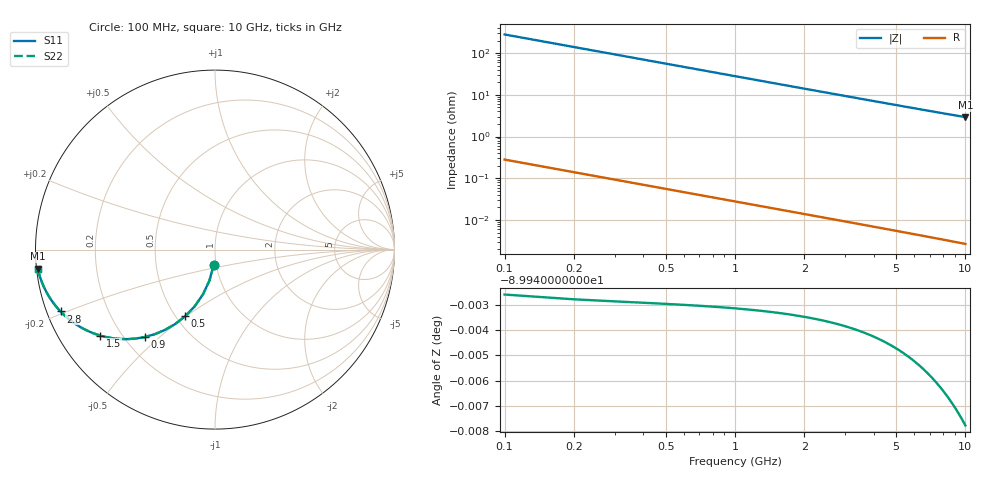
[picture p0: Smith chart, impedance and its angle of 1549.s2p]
# Hz S RI R 50.00
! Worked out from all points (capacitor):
!   100 points, 100 MHz to 10 GHz, reference 50 ohm
!   read as one part in shunt: C = 5.68 pF near 100 MHz
!   lowest |Z| = 2.93 ohm at 10 GHz (marker M1)
!   S11 on the Smith chart (normalised r, x): 100 MHz: 0.97, -0.17; 500 MHz: 0.56, -0.50; 900 MHz: 0.28, -0.45; 1.5 GHz: 0.12, -0.33; 2.8 GHz: 0.04, -0.19; 10 GHz: 0.00, -0.05
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1e8  -0.00797 -0.0884  0.992 -0.0885  0.992 -0.0885  -0.00797 -0.0884
2e8  -0.031 -0.1726  0.969 -0.1728  0.969 -0.1728  -0.031 -0.1726
3e8  -0.0669 -0.2493  0.933 -0.2496  0.933 -0.2496  -0.0669 -0.2493
4e8  -0.113 -0.3159  0.887 -0.3163  0.887 -0.3163  -0.113 -0.3159
5e8  -0.1659 -0.3712  0.8341 -0.3717  0.8341 -0.3717  -0.1659 -0.3712
6e8  -0.2225 -0.4151  0.7775 -0.4157  0.7775 -0.4157  -0.2225 -0.4151
7e8  -0.2801 -0.4482  0.7199 -0.4489  0.7199 -0.4489  -0.2801 -0.4482
8e8  -0.3368 -0.4717  0.6632 -0.4725  0.6632 -0.4725  -0.3368 -0.4717
9e8  -0.3911 -0.4871  0.6089 -0.4879  0.6089 -0.4879  -0.3911 -0.4871
1e9  -0.4421 -0.4957  0.5578 -0.4966  0.5578 -0.4966  -0.4421 -0.4957
1.2e9  -0.5327 -0.4979  0.4673 -0.499  0.4673 -0.499  -0.5327 -0.4979
1.5e9  -0.64 -0.4788  0.36 -0.4802  0.36 -0.4802  -0.64 -0.4788
1.8e9  -0.7188 -0.4482  0.2812 -0.45  0.2812 -0.45  -0.7188 -0.4482
2e9  -0.7592 -0.4261  0.2408 -0.4281  0.2408 -0.4281  -0.7592 -0.4261
2.3e9  -0.8063 -0.3936  0.1937 -0.3958  0.1937 -0.3958  -0.8063 -0.3936
2.8e9  -0.8603 -0.3448  0.1397 -0.3476  0.1397 -0.3476  -0.8603 -0.3448
3.4e9  -0.9006 -0.2971  0.0994 -0.3004  0.0994 -0.3004  -0.9006 -0.2971
4.2e9  -0.9324 -0.2485  0.0676 -0.2526  0.0676 -0.2526  -0.9324 -0.2485
5.1e9  -0.9531 -0.2084  0.0469 -0.2135  0.0469 -0.2135  -0.9531 -0.2084
6.7e9  -0.9723 -0.1603  0.0277 -0.167  0.0277 -0.167  -0.9723 -0.1603
8.4e9  -0.9822 -0.1274  0.0177 -0.1358  0.0177 -0.1358  -0.9822 -0.1274
1e10  -0.9874 -0.1057  0.0125 -0.1158  0.0125 -0.1158  -0.9874 -0.1057
